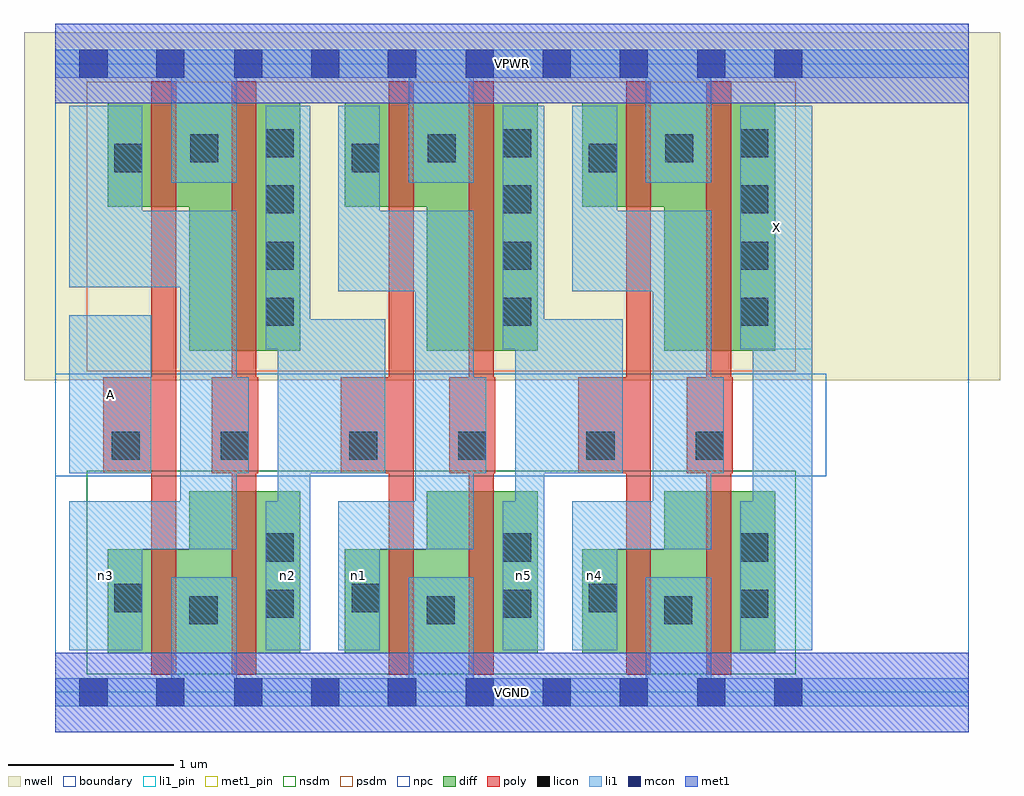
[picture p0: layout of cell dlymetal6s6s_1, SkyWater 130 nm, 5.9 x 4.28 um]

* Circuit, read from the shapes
.subckt dlymetal6s6s_1 A VGND VPWR X n1 n2 n3 n4 n5
XM1 VGND A n3 VSUBS sky130_fd_pr__nfet_01v8 w=0.63 l=0.15
XM2 n2 n3 VGND VSUBS sky130_fd_pr__nfet_01v8 w=0.98 l=0.15
XM3 VGND n2 n1 VSUBS sky130_fd_pr__nfet_01v8 w=0.63 l=0.15
XM4 n5 n1 VGND VSUBS sky130_fd_pr__nfet_01v8 w=0.98 l=0.15
XM5 VGND n5 n4 VSUBS sky130_fd_pr__nfet_01v8 w=0.63 l=0.15
XM6 X n4 VGND VSUBS sky130_fd_pr__nfet_01v8 w=0.98 l=0.15
XM7 VPWR A n3 n6 sky130_fd_pr__pfet_01v8 w=0.63 l=0.15
XM8 n2 n3 VPWR n6 sky130_fd_pr__pfet_01v8 w=1.5 l=0.15
XM9 VPWR n2 n1 n6 sky130_fd_pr__pfet_01v8 w=0.63 l=0.15
XM10 n5 n1 VPWR n6 sky130_fd_pr__pfet_01v8 w=1.5 l=0.15
XM11 VPWR n5 n4 n6 sky130_fd_pr__pfet_01v8 w=0.63 l=0.15
XM12 X n4 VPWR n6 sky130_fd_pr__pfet_01v8 w=1.5 l=0.15
.ends

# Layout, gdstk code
import gdstk
lib = gdstk.Library(unit=1e-6, precision=1e-09)
def R(c, l, rs):  # rectangles x0, y0, x1, y1
    for r in rs: c.add(gdstk.rectangle(r[:2], r[2:], *l))
def A(c, l, x, y, w, h, nx, ny, dx, dy):  # array of equal rectangles
    R(c, l, [(x+i*dx, y+j*dy, x+i*dx+w, y+j*dy+h) for i in range(nx) for j in range(ny)])
nwell = (64, 20)
diff = (65, 20)
poly = (66, 20)
licon = (66, 44)
li1_pin = (67, 16)
li1 = (67, 20)
mcon = (67, 44)
met1_pin = (68, 16)
met1 = (68, 20)
nsdm = (93, 44)
psdm = (94, 20)
npc = (95, 20)
boundary = (235, 4)

dlymetal6s6s_1 = lib.new_cell('dlymetal6s6s_1')
R(dlymetal6s6s_1, nwell, [(-0.19,1.885,5.71,3.99), (0,1.885,5.52,3.99)])
A(dlymetal6s6s_1, diff, 0.315, 0.235, 1.165, 0.63, 3, 2, 1.435, 2.7)
A(dlymetal6s6s_1, diff, 0.81, 0.235, 0.67, 0.98, 3, 1, 1.435, 0)
A(dlymetal6s6s_1, diff, 0.81, 2.065, 0.67, 1.5, 3, 1, 1.435, 0)
A(dlymetal6s6s_1, poly, 0.29, 1.325, 0.44, 0.58, 3, 1, 1.435, 0)
A(dlymetal6s6s_1, poly, 0.945, 1.325, 0.28, 0.58, 3, 1, 1.435, 0)
R(dlymetal6s6s_1, poly, [(0.58,0.105,0.73,3.695), (1.065,0.105,1.215,3.695), (2.015,0.105,2.165,3.695), (2.5,0.105,2.65,3.695), (3.45,0.105,3.6,3.695), (3.935,0.105,4.085,3.695)])
A(dlymetal6s6s_1, licon, 0.81, 0.41, 0.17, 0.17, 3, 1, 1.435, 0)
A(dlymetal6s6s_1, licon, 1.27, 0.45, 0.17, 0.17, 3, 2, 1.435, 0.34)
A(dlymetal6s6s_1, licon, 0.355, 0.485, 0.17, 0.17, 3, 2, 1.435, 2.66)
A(dlymetal6s6s_1, licon, 1.27, 2.215, 0.17, 0.17, 3, 4, 1.435, 0.34)
A(dlymetal6s6s_1, licon, 0.815, 3.205, 0.17, 0.17, 3, 1, 1.435, 0)
R(dlymetal6s6s_1, licon, [(0.34,1.405,0.51,1.575), (1,1.405,1.17,1.575), (1.775,1.405,1.945,1.575), (2.435,1.405,2.605,1.575), (3.21,1.405,3.38,1.575), (3.87,1.405,4.04,1.575)])
R(dlymetal6s6s_1, li1_pin, [(0.085,1.325,0.58,2.28), (4.14,2.075,4.575,3.545)])
A(dlymetal6s6s_1, li1, 0.7, -0.085, 0.395, 0.78, 3, 1, 1.435, 0)
A(dlymetal6s6s_1, li1, 0.7, 3.08, 0.395, 0.805, 3, 1, 1.435, 0)
R(dlymetal6s6s_1, li1, [(0,-0.085,5.52,0.085), (0.085,0.255,0.525,1.155), (1.27,0.255,1.54,1.155), (1.345,0.255,1.54,3.545), (1.71,0.255,1.96,1.155), (2.705,0.255,2.955,1.155), (2.78,0.255,2.955,3.545), (3.125,0.255,3.395,1.155), (4.14,0.255,4.575,1.155), (4.215,0.255,4.575,3.545), (0.085,0.865,1.095,1.155), (0.755,0.865,1.095,2.91), (1.71,0.865,2.53,1.155), (2.175,0.865,2.53,2.91), (3.125,0.865,3.965,1.155), (3.61,0.865,3.965,2.91), (0.085,1.325,0.58,2.28), (0.755,1.325,1.17,1.905), (1.345,1.325,1.995,2.255), (2.175,1.325,2.605,1.905), (2.78,1.325,3.43,2.255), (3.61,1.325,4.04,1.905), (1.27,2.075,1.54,3.545), (2.705,2.075,2.955,3.545), (4.14,2.075,4.575,3.545), (1.71,2.425,1.96,3.545), (1.71,2.425,2.53,2.91), (3.125,2.425,3.395,3.545), (3.125,2.425,3.965,2.91), (0.085,2.45,0.525,3.545), (0.085,2.45,1.095,2.91), (0,3.715,5.52,3.885)])
A(dlymetal6s6s_1, mcon, 1.08, -0.085, 0.17, 0.17, 3, 2, 0.465, 3.8)
A(dlymetal6s6s_1, mcon, 2.48, -0.085, 0.17, 0.17, 3, 2, 0.465, 3.8)
R(dlymetal6s6s_1, mcon, [(0.145,-0.085,0.315,0.085), (0.61,-0.085,0.78,0.085), (3.88,-0.085,4.05,0.085), (4.345,-0.085,4.515,0.085), (0.145,3.715,0.315,3.885), (0.61,3.715,0.78,3.885), (3.88,3.715,4.05,3.885), (4.345,3.715,4.515,3.885)])
R(dlymetal6s6s_1, met1_pin, [(0,-0.24,5.52,0.24), (0,3.56,5.52,4.04)])
R(dlymetal6s6s_1, met1, [(0,-0.24,5.52,0.24), (0,3.56,5.52,4.04)])
R(dlymetal6s6s_1, nsdm, [(0.19,0.11,4.475,1.34)])
R(dlymetal6s6s_1, psdm, [(0.19,1.94,4.475,3.69)])
R(dlymetal6s6s_1, npc, [(0,1.305,4.66,1.925)])
R(dlymetal6s6s_1, boundary, [(0,0,5.52,3.8)])
dlymetal6s6s_1.add(gdstk.Label('A', (0.332,1.802), layer=67, texttype=5))
dlymetal6s6s_1.add(gdstk.Label('X', (4.357,2.81), layer=67, texttype=5))
dlymetal6s6s_1.add(gdstk.Label('n3', (0.305,0.705), layer=67, texttype=5))
dlymetal6s6s_1.add(gdstk.Label('n2', (1.405,0.705), layer=67, texttype=5))
dlymetal6s6s_1.add(gdstk.Label('n1', (1.835,0.705), layer=67, texttype=5))
dlymetal6s6s_1.add(gdstk.Label('n5', (2.83,0.705), layer=67, texttype=5))
dlymetal6s6s_1.add(gdstk.Label('n4', (3.26,0.705), layer=67, texttype=5))
dlymetal6s6s_1.add(gdstk.Label('VPWR', (2.76,3.8), layer=68, texttype=5))
dlymetal6s6s_1.add(gdstk.Label('VGND', (2.76,0), layer=68, texttype=5))
dlymetal6s6s_1.add(gdstk.Label('A', (0.332,1.802), layer=67, texttype=16))
dlymetal6s6s_1.add(gdstk.Label('X', (4.357,2.81), layer=67, texttype=16))
dlymetal6s6s_1.add(gdstk.Label('VPWR', (2.76,3.8), layer=68, texttype=16))
dlymetal6s6s_1.add(gdstk.Label('VGND', (2.76,0), layer=68, texttype=16))

lib.write_gds('dlymetal6s6s_1.gds')
